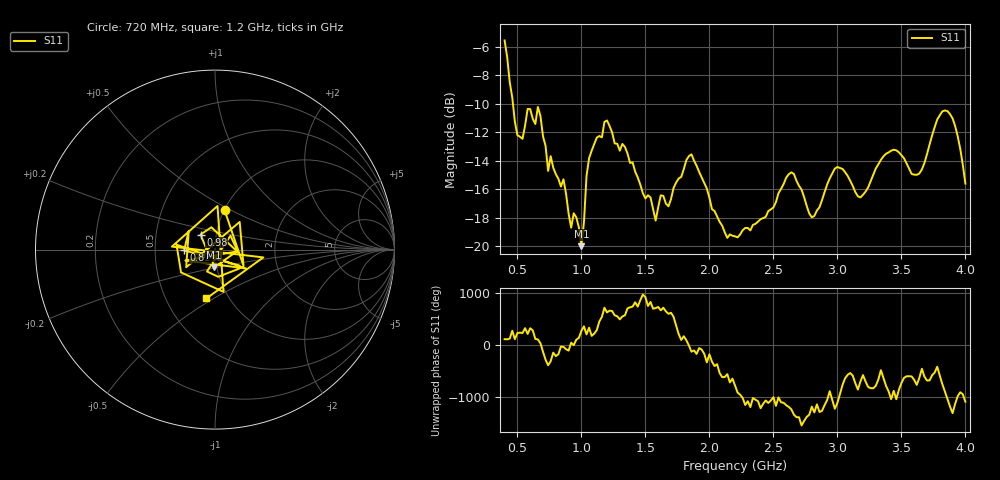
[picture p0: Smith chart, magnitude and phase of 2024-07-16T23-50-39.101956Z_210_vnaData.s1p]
!Created with skrf (http://scikit-rf.org).
# Hz S RI R 50.0
!freq ReS11 ImS11
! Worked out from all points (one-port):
!   181 points, 400 MHz to 4 GHz, reference 50 ohm
!   lowest |S11| = -20.0 dB at 1 GHz (marker M1), VSWR 1.22, Z = 48.5 - j9.76 ohm
!   |S11| at or under -10 dB: 465 MHz to end of sweep
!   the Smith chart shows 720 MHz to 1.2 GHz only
!   S11 on the Smith chart (normalised r, x): 720 MHz: 1.01, +0.46; 820 MHz: 0.71, -0.01; 980 MHz: 0.84, +0.14; 1.2 GHz: 0.79, -0.46
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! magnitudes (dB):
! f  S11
! 400 MHz  -5.6
! 500 MHz  -12.2
! 660 MHz  -10.2
! 720 MHz  -13.0
! 740 MHz  -14.7
! 760 MHz  -13.7
! 820 MHz  -15.3
! 860 MHz  -15.3
! 920 MHz  -18.7
! 980 MHz  -18.7
! 1 GHz  -20.0
! 1.06 GHz  -13.8
! 1.2 GHz  -11.2
! 1.3 GHz  -13.3
! 1.58 GHz  -18.2
! 1.76 GHz  -15.3
! 1.86 GHz  -13.6
! 2.2 GHz  -19.3
! 2.66 GHz  -14.9
! 2.8 GHz  -18.0
! 2.98 GHz  -14.6
! 3.1 GHz  -15.4
! 3.18 GHz  -16.6
! 3.44 GHz  -13.2
! 3.56 GHz  -14.6
! 3.64 GHz  -14.9
! 3.86 GHz  -10.5
! 4 GHz  -15.6
